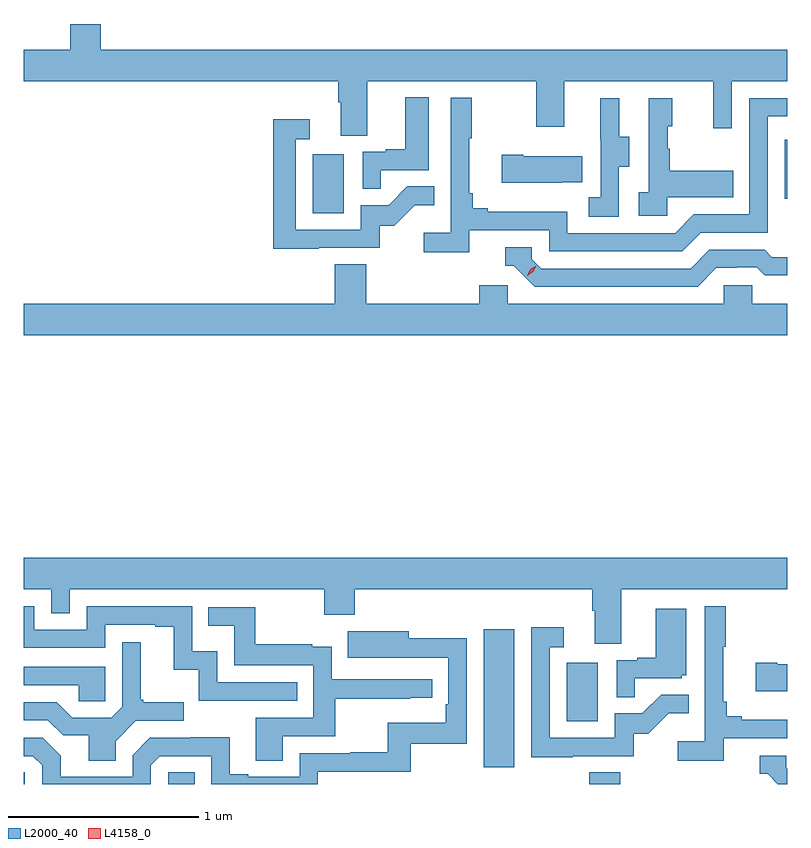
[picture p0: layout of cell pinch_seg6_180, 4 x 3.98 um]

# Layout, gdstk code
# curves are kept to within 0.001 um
import gdstk
lib = gdstk.Library(unit=1e-6, precision=1e-09)
def R(c, l, rs):  # rectangles x0, y0, x1, y1
    for r in rs: c.add(gdstk.rectangle(r[:2], r[2:], *l))
def P(c, l, *ps):  # polygons
    for p in ps: c.add(gdstk.Polygon(p, *l))
L2000_40 = (2000, 40)
L4158_0 = (4158, 0)

pinch_seg6_180 = lib.new_cell('pinch_seg6_180')
R(pinch_seg6_180, L2000_40, [(1059.799,925.003,1059.804,925.064), (1060.554,925.003,1060.693,925.064), (1062.761,925.003,1062.926,925.064), (1062.209,925.092,1062.37,925.813), (1062.644,925.332,1062.808,925.639), (1061.312,927.996,1061.476,928.303), (1063.788,928.071,1063.799,928.38)])
P(pinch_seg6_180, L2000_40, [(1060.202,928.987),(1060.042,928.987),(1060.042,928.852),(1059.799,928.852),(1059.799,928.688),(1061.447,928.688),(1061.447,928.576),(1061.459,928.576),(1061.459,928.402),(1061.599,928.402),(1061.599,928.688),(1062.484,928.688),(1062.484,928.449),(1062.631,928.449),(1062.631,928.688),(1063.412,928.688),(1063.412,928.44),(1063.509,928.44),(1063.509,928.688),(1063.799,928.688),(1063.799,928.852),(1060.202,928.852)],
  [(1061.669,928.221),(1061.92,928.221),(1061.92,928.603),(1061.798,928.603),(1061.798,928.33),(1061.695,928.33),(1061.695,928.317),(1061.574,928.317),(1061.574,928.123),(1061.669,928.123)],
  [(1062.134,927.906),(1062.552,927.906),(1062.552,927.795),(1063.249,927.795),(1063.348,927.894),(1063.698,927.894),(1063.698,928.503),(1063.799,928.503),(1063.799,928.599),(1063.602,928.599),(1063.602,927.99),(1063.311,927.99),(1063.212,927.891),(1062.648,927.891),(1062.648,928.003),(1062.229,928.003),(1062.229,928.022),(1062.152,928.022),(1062.152,928.099),(1062.133,928.099),(1062.133,928.387),(1062.145,928.387),(1062.145,928.6),(1062.036,928.6),(1062.036,927.892),(1061.895,927.892),(1061.895,927.79),(1062.134,927.79)],
  [(1063.17,928.079),(1063.517,928.079),(1063.517,928.219),(1063.183,928.219),(1063.183,928.334),(1063.173,928.334),(1063.173,928.452),(1063.198,928.452),(1063.198,928.597),(1063.074,928.597),(1063.074,928.106),(1063.023,928.106),(1063.023,927.981),(1063.17,927.981)],
  [(1062.918,928.24),(1062.973,928.24),(1062.973,928.395),(1062.919,928.395),(1062.919,928.597),(1062.821,928.597),(1062.821,928.383),(1062.822,928.383),(1062.822,928.079),(1062.759,928.079),(1062.759,927.976),(1062.918,927.976)],
  [(1061.345,927.813),(1061.664,927.813),(1061.664,927.93),(1061.74,927.93),(1061.847,928.037),(1061.951,928.037),(1061.951,928.136),(1061.808,928.136),(1061.71,928.038),(1061.565,928.038),(1061.565,927.909),(1061.223,927.909),(1061.223,928.383),(1061.296,928.383),(1061.296,928.489),(1061.107,928.489),(1061.107,927.808),(1061.345,927.808)],
  [(1062.617,928.157),(1062.725,928.157),(1062.725,928.294),(1062.415,928.294),(1062.415,928.302),(1062.303,928.302),(1062.303,928.154),(1062.617,928.154)],
  [(1063.429,927.708),(1063.536,927.708),(1063.536,927.711),(1063.639,927.711),(1063.681,927.669),(1063.799,927.669),(1063.799,927.765),(1063.72,927.765),(1063.681,927.804),(1063.392,927.804),(1063.293,927.705),(1062.51,927.705),(1062.462,927.753),(1062.462,927.816),(1062.323,927.816),(1062.323,927.72),(1062.366,927.72),(1062.477,927.609),(1063.33,927.609)],
  [(1063.799,927.52),(1063.617,927.52),(1063.617,927.618),(1063.467,927.618),(1063.467,927.52),(1062.336,927.52),(1062.336,927.618),(1062.185,927.618),(1062.185,927.52),(1061.594,927.52),(1061.594,927.728),(1061.429,927.728),(1061.429,927.52),(1059.799,927.52),(1059.799,927.356),(1063.799,927.356)],
  [(1062.931,926.024),(1063.799,926.024),(1063.799,926.188),(1059.799,926.188),(1059.799,926.024),(1059.942,926.024),(1059.942,925.897),(1060.038,925.897),(1060.038,926.024),(1061.374,926.024),(1061.374,925.889),(1061.534,925.889),(1061.534,926.024),(1062.779,926.024),(1062.779,925.912),(1062.791,925.912),(1062.791,925.738),(1062.931,925.738)],
  [(1063.466,925.242),(1063.799,925.242),(1063.799,925.339),(1063.561,925.339),(1063.561,925.358),(1063.484,925.358),(1063.484,925.435),(1063.465,925.435),(1063.465,925.723),(1063.477,925.723),(1063.477,925.936),(1063.368,925.936),(1063.368,925.228),(1063.227,925.228),(1063.227,925.126),(1063.466,925.126)],
  [(1061.231,925.536),(1060.812,925.536),(1060.812,925.699),(1060.68,925.699),(1060.68,925.935),(1060.128,925.935),(1060.128,925.812),(1059.852,925.812),(1059.852,925.935),(1059.799,925.935),(1059.799,925.716),(1060.224,925.716),(1060.224,925.839),(1060.487,925.839),(1060.487,925.827),(1060.583,925.827),(1060.583,925.601),(1060.716,925.601),(1060.716,925.44),(1061.231,925.44)],
  [(1061.155,925.254),(1061.432,925.254),(1061.432,925.45),(1061.825,925.45),(1061.825,925.455),(1061.938,925.455),(1061.938,925.551),(1061.412,925.551),(1061.412,925.723),(1061.309,925.723),(1061.309,925.735),(1061.011,925.735),(1061.011,925.929),(1060.765,925.929),(1060.765,925.832),(1060.9,925.832),(1060.9,925.626),(1061.316,925.626),(1061.316,925.35),(1061.015,925.35),(1061.015,925.126),(1061.155,925.126)],
  [(1063.001,925.557),(1063.248,925.557),(1063.248,925.572),(1063.27,925.572),(1063.27,925.921),(1063.112,925.921),(1063.112,925.666),(1063.013,925.666),(1063.013,925.653),(1062.906,925.653),(1062.906,925.459),(1063.001,925.459)],
  [(1062.677,925.149),(1062.996,925.149),(1062.996,925.266),(1063.072,925.266),(1063.179,925.373),(1063.283,925.373),(1063.283,925.472),(1063.139,925.472),(1063.041,925.374),(1062.897,925.374),(1062.897,925.245),(1062.555,925.245),(1062.555,925.719),(1062.628,925.719),(1062.628,925.825),(1062.459,925.825),(1062.459,925.144),(1062.677,925.144)],
  [(1060.464,925.101),(1060.512,925.149),(1060.782,925.149),(1060.782,925.003),(1061.34,925.003),(1061.34,925.068),(1061.827,925.068),(1061.827,925.215),(1062.12,925.215),(1062.12,925.766),(1061.815,925.766),(1061.815,925.804),(1061.497,925.804),(1061.497,925.664),(1062.024,925.665),(1062.024,925.42),(1062.011,925.42),(1062.011,925.324),(1061.706,925.324),(1061.706,925.169),(1061.509,925.169),(1061.509,925.164),(1061.244,925.164),(1061.244,925.041),(1060.975,925.041),(1060.975,925.054),(1060.879,925.054),(1060.879,925.247),(1060.674,925.247),(1060.674,925.245),(1060.458,925.245),(1060.368,925.155),(1060.368,925.041),(1059.991,925.041),(1059.991,925.151),(1059.897,925.245),(1059.799,925.245),(1059.799,925.149),(1059.846,925.149),(1059.894,925.101),(1059.894,925.003),(1060.464,925.003)],
  [(1060.279,925.228),(1060.386,925.335),(1060.636,925.335),(1060.636,925.432),(1060.423,925.432),(1060.423,925.444),(1060.411,925.444),(1060.411,925.747),(1060.314,925.747),(1060.314,925.407),(1060.257,925.35),(1060.051,925.35),(1059.97,925.431),(1059.799,925.431),(1059.799,925.338),(1059.924,925.338),(1060.004,925.258),(1060.139,925.258),(1060.139,925.126),(1060.279,925.126)],
  [(1063.799,925.63),(1063.747,925.63),(1063.747,925.638),(1063.635,925.638),(1063.635,925.49),(1063.799,925.49)],
  [(1060.224,925.617),(1059.799,925.617),(1059.799,925.521),(1060.087,925.521),(1060.087,925.437),(1060.224,925.437)],
  [(1063.799,925.084),(1063.794,925.089),(1063.794,925.152),(1063.655,925.152),(1063.655,925.056),(1063.698,925.056),(1063.751,925.003),(1063.799,925.003)])
P(pinch_seg6_180, L4158_0, [(1062.437,927.668),(1062.437,927.668),(1062.454,927.701),(1062.485,927.72),(1062.485,927.72),(1062.485,927.72),(1062.469,927.687),(1062.438,927.668)])

lib.write_gds('pinch_seg6_180.gds')
